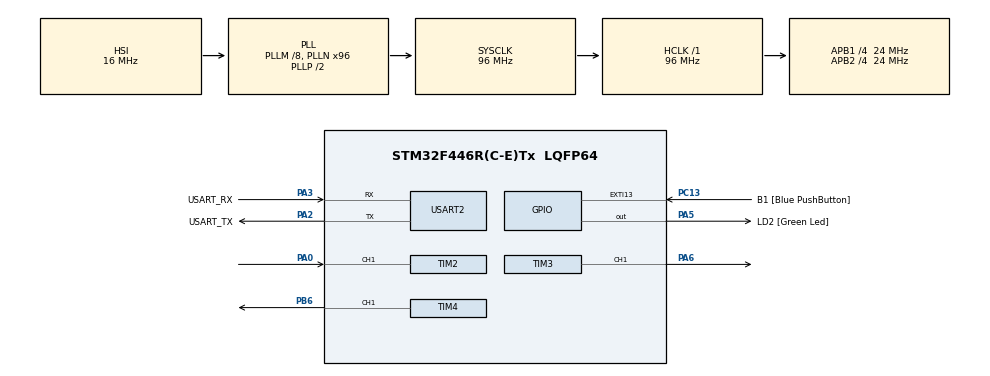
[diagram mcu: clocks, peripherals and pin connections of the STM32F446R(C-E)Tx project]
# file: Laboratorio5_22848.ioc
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Mcu.Family=STM32F4
Mcu.Name=STM32F446R(C-E)Tx
Mcu.Package=LQFP64
NVIC.PriorityGroup=NVIC_PRIORITYGROUP_0
NVIC.TIM2_IRQn=true\:0\:0\:false\:false\:true\:true\:true\:true
NVIC.USART2_IRQn=true\:0\:0\:false\:false\:true\:true\:true\:true
PA0-WKUP.Signal=S_TIM2_CH1_ETR
PA13.GPIO_Label=TMS
PA13.Mode=Serial_Wire
PA13.Signal=SYS_JTMS-SWDIO
PA14.GPIO_Label=TCK
PA14.Mode=Serial_Wire
PA14.Signal=SYS_JTCK-SWCLK
PA2.GPIO_Label=USART_TX
PA2.Mode=Asynchronous
PA2.Signal=USART2_TX
PA3.GPIO_Label=USART_RX
PA3.Mode=Asynchronous
PA3.Signal=USART2_RX
PA5.GPIO_Label=LD2 [Green Led]
PA5.Signal=GPIO_Output
PA6.Signal=S_TIM3_CH1
PB3.GPIO_Label=SWO
PB3.Signal=SYS_JTDO-SWO
PB6.Signal=S_TIM4_CH1
PC13.GPIO_Label=B1 [Blue PushButton]
PC13.GPIO_ModeDefaultEXTI=GPIO_MODE_IT_FALLING
PC13.Signal=GPXTI13
PC14-OSC32_IN.Mode=LSE-External-Oscillator
PC14-OSC32_IN.Signal=RCC_OSC32_IN
PC15-OSC32_OUT.Mode=LSE-External-Oscillator
PC15-OSC32_OUT.Signal=RCC_OSC32_OUT
PH0-OSC_IN.Mode=HSE-External-Oscillator
PH0-OSC_IN.Signal=RCC_OSC_IN
PH1-OSC_OUT.Mode=HSE-External-Oscillator
PH1-OSC_OUT.Signal=RCC_OSC_OUT
ProjectManager.HeapSize=0x200
ProjectManager.StackSize=0x400
ProjectManager.TargetToolchain=STM32CubeIDE
RCC.48MHZClocksFreq_Value=84000000
RCC.AHBFreq_Value=96000000
RCC.APB1CLKDivider=RCC_HCLK_DIV4
RCC.APB1Freq_Value=24000000
RCC.APB1TimFreq_Value=48000000
RCC.APB2CLKDivider=RCC_HCLK_DIV4
RCC.APB2Freq_Value=24000000
RCC.APB2TimFreq_Value=48000000
RCC.CortexFreq_Value=96000000
RCC.FLatency-AdvancedSettings=FLASH_LATENCY_3
RCC.HCLKFreq_Value=96000000
RCC.HSE_VALUE=8000000
RCC.HSI_VALUE=16000000
RCC.PLLM=8
RCC.PLLN=96
RCC.SYSCLKFreq_VALUE=96000000
RCC.SYSCLKSource=RCC_SYSCLKSOURCE_PLLCLK
RCC.USBFreq_Value=96000000
RCC.VCOOutputFreq_Value=192000000
SH.S_TIM2_CH1_ETR.0=TIM2_CH1,Input_Capture1_from_TI1
SH.S_TIM3_CH1.0=TIM3_CH1,PWM Generation1 CH1
SH.S_TIM4_CH1.0=TIM4_CH1,PWM Generation1 CH1
TIM2.AutoReloadPreload=TIM_AUTORELOAD_PRELOAD_ENABLE
TIM2.Channel-Input_Capture1_from_TI1=TIM_CHANNEL_1
TIM2.Prescaler=48-1
TIM3.Channel-PWM\ Generation1\ CH1=TIM_CHANNEL_1
TIM3.Period=499
TIM3.Prescaler=47999
TIM3.Pulse-PWM\ Generation1\ CH1=250
TIM4.Channel-PWM\ Generation1\ CH1=TIM_CHANNEL_1
TIM4.Period=1999
TIM4.Prescaler=47999
TIM4.Pulse-PWM\ Generation1\ CH1=1000
USART2.OverSampling=UART_OVERSAMPLING_16
USART2.VirtualMode=VM_ASYNC
VP_TIM2_VS_ClockSourceINT.Mode=Internal
VP_TIM3_VS_ClockSourceINT.Mode=Internal
VP_TIM4_VS_ClockSourceINT.Mode=Internal
board=NUCLEO-F446RE

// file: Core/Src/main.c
/* USER CODE BEGIN Header */
/**
  ******************************************************************************
  * @file           : main.c
  * @brief          : Main program body
  ******************************************************************************
  * @attention
  *
  * Copyright (c) 2026 STMicroelectronics.
  * All rights reserved.
  *
  * This software is licensed under terms that can be found in the LICENSE file
  * in the root directory of this software component.
  * If no LICENSE file comes with this software, it is provided AS-IS.
  *
  ******************************************************************************
  */
/* USER CODE END Header */
#include "main.h"

/* USER CODE BEGIN Includes */
#include <stdio.h>
#include <stdint.h>
/* USER CODE END Includes */

/* USER CODE BEGIN PD */
#define ftimclk 1000000
/* USER CODE END PD */

TIM_HandleTypeDef htim2;
TIM_HandleTypeDef htim3;
TIM_HandleTypeDef htim4;

UART_HandleTypeDef huart2;

/* USER CODE BEGIN PV */

uint8_t flag_signal =  0;
volatile uint8_t numero_muestra = 0;
volatile uint16_t muestra1 = 0;
volatile uint16_t muestra2 = 0;

uint16_t periodo = 0;
float frecuencia;

char datoArray[30];

uint32_t tiempoAnterior = 0;

/* USER CODE END PV */

void SystemClock_Config(void);
static void MX_GPIO_Init(void);
static void MX_USART2_UART_Init(void);
static void MX_TIM2_Init(void);
static void MX_TIM3_Init(void);
static void MX_TIM4_Init(void);

int main(void)
{

  /* MCU Configuration--------------------------------------------------------*/

  /* Reset of all peripherals, Initializes the Flash interface and the Systick. */
  HAL_Init();

  /* Configure the system clock */
  SystemClock_Config();

  /* Initialize all configured peripherals */
  MX_GPIO_Init();
  MX_USART2_UART_Init();
  MX_TIM2_Init();
  MX_TIM3_Init();
  MX_TIM4_Init();
  /* USER CODE BEGIN 2 */
  HAL_TIM_PWM_Start(&htim3, TIM_CHANNEL_1);
  HAL_TIM_PWM_Start(&htim4, TIM_CHANNEL_1);
  /* USER CODE END 2 */

  /* Infinite loop */
  /* USER CODE BEGIN WHILE */
  while (1)
  {

	  HAL_TIM_IC_Start_IT(&htim2, TIM_CHANNEL_1);// Iniciar la captura de datos
	  while(flag_signal == 0){
		  //El código se queda en modo espera
	  }
	  flag_signal = 0;

	  //Realizamos la resta para encontrar el periodo
	  periodo = muestra2 - muestra1;

	  frecuencia = (ftimclk / (float)periodo);
	  if(HAL_GetTick() -  tiempoAnterior >= 1000){

		  tiempoAnterior = HAL_GetTick();
		  int freq = snprintf(datoArray,sizeof(datoArray),"%f",frecuencia);
		  HAL_UART_Transmit(&huart2,(uint8_t*)datoArray,freq,1000);
	  }

    /* USER CODE END WHILE */

  }
}

void SystemClock_Config(void)
{
  RCC_OscInitTypeDef RCC_OscInitStruct = {0};
  RCC_ClkInitTypeDef RCC_ClkInitStruct = {0};

  /** Configure the main internal regulator output voltage
  */
  __HAL_RCC_PWR_CLK_ENABLE();
  __HAL_PWR_VOLTAGESCALING_CONFIG(PWR_REGULATOR_VOLTAGE_SCALE3);

  /** Initializes the RCC Oscillators according to the specified parameters
  * in the RCC_OscInitTypeDef structure.
  */
  RCC_OscInitStruct.OscillatorType = RCC_OSCILLATORTYPE_HSI;
  RCC_OscInitStruct.HSIState = RCC_HSI_ON;
  RCC_OscInitStruct.HSICalibrationValue = RCC_HSICALIBRATION_DEFAULT;
  RCC_OscInitStruct.PLL.PLLState = RCC_PLL_ON;
  RCC_OscInitStruct.PLL.PLLSource = RCC_PLLSOURCE_HSI;
  RCC_OscInitStruct.PLL.PLLM = 8;
  RCC_OscInitStruct.PLL.PLLN = 96;
  RCC_OscInitStruct.PLL.PLLP = RCC_PLLP_DIV2;
  RCC_OscInitStruct.PLL.PLLQ = 2;
  RCC_OscInitStruct.PLL.PLLR = 2;
  if (HAL_RCC_OscConfig(&RCC_OscInitStruct) != HAL_OK)
  {
    Error_Handler();
  }

  /** Initializes the CPU, AHB and APB buses clocks
  */
  RCC_ClkInitStruct.ClockType = RCC_CLOCKTYPE_HCLK|RCC_CLOCKTYPE_SYSCLK
                              |RCC_CLOCKTYPE_PCLK1|RCC_CLOCKTYPE_PCLK2;
  RCC_ClkInitStruct.SYSCLKSource = RCC_SYSCLKSOURCE_PLLCLK;
  RCC_ClkInitStruct.AHBCLKDivider = RCC_SYSCLK_DIV1;
  RCC_ClkInitStruct.APB1CLKDivider = RCC_HCLK_DIV4;
  RCC_ClkInitStruct.APB2CLKDivider = RCC_HCLK_DIV4;

  if (HAL_RCC_ClockConfig(&RCC_ClkInitStruct, FLASH_LATENCY_3) != HAL_OK)
  {
    Error_Handler();
  }
}

static void MX_TIM2_Init(void)
{

  TIM_ClockConfigTypeDef sClockSourceConfig = {0};
  TIM_MasterConfigTypeDef sMasterConfig = {0};
  TIM_IC_InitTypeDef sConfigIC = {0};

  htim2.Instance = TIM2;
  htim2.Init.Prescaler = 48-1;
  htim2.Init.CounterMode = TIM_COUNTERMODE_UP;
  htim2.Init.Period = 4294967295;
  htim2.Init.ClockDivision = TIM_CLOCKDIVISION_DIV1;
  htim2.Init.AutoReloadPreload = TIM_AUTORELOAD_PRELOAD_ENABLE;
  if (HAL_TIM_Base_Init(&htim2) != HAL_OK)
  {
    Error_Handler();
  }
  sClockSourceConfig.ClockSource = TIM_CLOCKSOURCE_INTERNAL;
  if (HAL_TIM_ConfigClockSource(&htim2, &sClockSourceConfig) != HAL_OK)
  {
    Error_Handler();
  }
  if (HAL_TIM_IC_Init(&htim2) != HAL_OK)
  {
    Error_Handler();
  }
  sMasterConfig.MasterOutputTrigger = TIM_TRGO_RESET;
  sMasterConfig.MasterSlaveMode = TIM_MASTERSLAVEMODE_DISABLE;
  if (HAL_TIMEx_MasterConfigSynchronization(&htim2, &sMasterConfig) != HAL_OK)
  {
    Error_Handler();
  }
  sConfigIC.ICPolarity = TIM_INPUTCHANNELPOLARITY_RISING;
  sConfigIC.ICSelection = TIM_ICSELECTION_DIRECTTI;
  sConfigIC.ICPrescaler = TIM_ICPSC_DIV1;
  sConfigIC.ICFilter = 0;
  if (HAL_TIM_IC_ConfigChannel(&htim2, &sConfigIC, TIM_CHANNEL_1) != HAL_OK)
  {
    Error_Handler();
  }

}

static void MX_TIM3_Init(void)
{

  TIM_ClockConfigTypeDef sClockSourceConfig = {0};
  TIM_MasterConfigTypeDef sMasterConfig = {0};
  TIM_OC_InitTypeDef sConfigOC = {0};

  htim3.Instance = TIM3;
  htim3.Init.Prescaler = 47999;
  htim3.Init.CounterMode = TIM_COUNTERMODE_UP;
  htim3.Init.Period = 499;
  htim3.Init.ClockDivision = TIM_CLOCKDIVISION_DIV1;
  htim3.Init.AutoReloadPreload = TIM_AUTORELOAD_PRELOAD_DISABLE;
  if (HAL_TIM_Base_Init(&htim3) != HAL_OK)
  {
    Error_Handler();
  }
  sClockSourceConfig.ClockSource = TIM_CLOCKSOURCE_INTERNAL;
  if (HAL_TIM_ConfigClockSource(&htim3, &sClockSourceConfig) != HAL_OK)
  {
    Error_Handler();
  }
  if (HAL_TIM_PWM_Init(&htim3) != HAL_OK)
  {
    Error_Handler();
  }
  sMasterConfig.MasterOutputTrigger = TIM_TRGO_RESET;
  sMasterConfig.MasterSlaveMode = TIM_MASTERSLAVEMODE_DISABLE;
  if (HAL_TIMEx_MasterConfigSynchronization(&htim3, &sMasterConfig) != HAL_OK)
  {
    Error_Handler();
  }
  sConfigOC.OCMode = TIM_OCMODE_PWM1;
  sConfigOC.Pulse = 250;
  sConfigOC.OCPolarity = TIM_OCPOLARITY_HIGH;
  sConfigOC.OCFastMode = TIM_OCFAST_DISABLE;
  if (HAL_TIM_PWM_ConfigChannel(&htim3, &sConfigOC, TIM_CHANNEL_1) != HAL_OK)
  {
    Error_Handler();
  }
  HAL_TIM_MspPostInit(&htim3);

}

static void MX_TIM4_Init(void)
{

  TIM_ClockConfigTypeDef sClockSourceConfig = {0};
  TIM_MasterConfigTypeDef sMasterConfig = {0};
  TIM_OC_InitTypeDef sConfigOC = {0};

  htim4.Instance = TIM4;
  htim4.Init.Prescaler = 47999;
  htim4.Init.CounterMode = TIM_COUNTERMODE_UP;
  htim4.Init.Period = 1999;
  htim4.Init.ClockDivision = TIM_CLOCKDIVISION_DIV1;
  htim4.Init.AutoReloadPreload = TIM_AUTORELOAD_PRELOAD_DISABLE;
  if (HAL_TIM_Base_Init(&htim4) != HAL_OK)
  {
    Error_Handler();
  }
  sClockSourceConfig.ClockSource = TIM_CLOCKSOURCE_INTERNAL;
  if (HAL_TIM_ConfigClockSource(&htim4, &sClockSourceConfig) != HAL_OK)
  {
    Error_Handler();
  }
  if (HAL_TIM_PWM_Init(&htim4) != HAL_OK)
  {
    Error_Handler();
  }
  sMasterConfig.MasterOutputTrigger = TIM_TRGO_RESET;
  sMasterConfig.MasterSlaveMode = TIM_MASTERSLAVEMODE_DISABLE;
  if (HAL_TIMEx_MasterConfigSynchronization(&htim4, &sMasterConfig) != HAL_OK)
  {
    Error_Handler();
  }
  sConfigOC.OCMode = TIM_OCMODE_PWM1;
  sConfigOC.Pulse = 1000;
  sConfigOC.OCPolarity = TIM_OCPOLARITY_HIGH;
  sConfigOC.OCFastMode = TIM_OCFAST_DISABLE;
  if (HAL_TIM_PWM_ConfigChannel(&htim4, &sConfigOC, TIM_CHANNEL_1) != HAL_OK)
  {
    Error_Handler();
  }
  HAL_TIM_MspPostInit(&htim4);

}

static void MX_USART2_UART_Init(void)
{

  huart2.Instance = USART2;
  huart2.Init.BaudRate = 115200;
  huart2.Init.WordLength = UART_WORDLENGTH_8B;
  huart2.Init.StopBits = UART_STOPBITS_1;
  huart2.Init.Parity = UART_PARITY_NONE;
  huart2.Init.Mode = UART_MODE_TX_RX;
  huart2.Init.HwFlowCtl = UART_HWCONTROL_NONE;
  huart2.Init.OverSampling = UART_OVERSAMPLING_16;
  if (HAL_UART_Init(&huart2) != HAL_OK)
  {
    Error_Handler();
  }

}

static void MX_GPIO_Init(void)
{
  GPIO_InitTypeDef GPIO_InitStruct = {0};

  /* GPIO Ports Clock Enable */
  __HAL_RCC_GPIOC_CLK_ENABLE();
  __HAL_RCC_GPIOH_CLK_ENABLE();
  __HAL_RCC_GPIOA_CLK_ENABLE();
  __HAL_RCC_GPIOB_CLK_ENABLE();

  /*Configure GPIO pin Output Level */
  HAL_GPIO_WritePin(LD2_GPIO_Port, LD2_Pin, GPIO_PIN_RESET);

  /*Configure GPIO pin : B1_Pin */
  GPIO_InitStruct.Pin = B1_Pin;
  GPIO_InitStruct.Mode = GPIO_MODE_IT_FALLING;
  GPIO_InitStruct.Pull = GPIO_NOPULL;
  HAL_GPIO_Init(B1_GPIO_Port, &GPIO_InitStruct);

  /*Configure GPIO pin : LD2_Pin */
  GPIO_InitStruct.Pin = LD2_Pin;
  GPIO_InitStruct.Mode = GPIO_MODE_OUTPUT_PP;
  GPIO_InitStruct.Pull = GPIO_NOPULL;
  GPIO_InitStruct.Speed = GPIO_SPEED_FREQ_LOW;
  HAL_GPIO_Init(LD2_GPIO_Port, &GPIO_InitStruct);

}

/* USER CODE BEGIN 4 */

void HAL_TIM_IC_CaptureCallback(TIM_HandleTypeDef *htim){

	if (numero_muestra == 0){ // Primer HIGH de la señal

		muestra1 = HAL_TIM_ReadCapturedValue(htim, TIM_CHANNEL_1);
		numero_muestra = 1;
	}

	else {

		muestra2 = HAL_TIM_ReadCapturedValue(htim, TIM_CHANNEL_1);
		HAL_TIM_IC_Stop(&htim2, TIM_CHANNEL_1); // Concluimos con la captura de la señal

		//reset
		numero_muestra = 0;
		flag_signal = 1;
	}
}

/* USER CODE END 4 */

void Error_Handler(void)
{
  __disable_irq();
  while (1)
  {
  }
}
